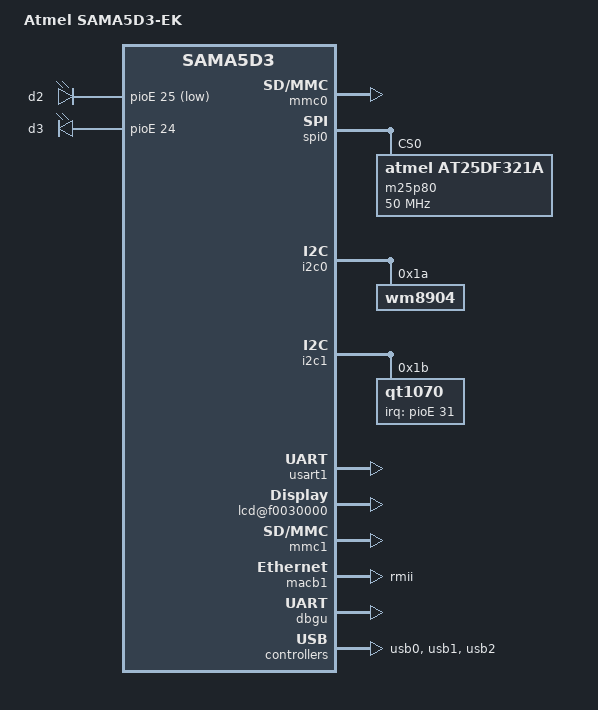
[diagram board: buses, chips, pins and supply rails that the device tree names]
/*
 * sama5d31ek.dts - Device Tree file for SAMA5-EK board
 *
 *  Copyright (C) 2012 Atmel,
 *                2012 Ludovic Desroches <ludovic.desroches@atmel.com>
 *
 * Licensed under GPLv2 or later.
 */
/dts-v1/;
/include/ "sama5d3.dtsi"
/include/ "sama5d3cm.dtsi"

/ {
	model = "Atmel SAMA5D3-EK";
	compatible = "atmel,sama5ek", "atmel,sama5d3", "atmel,sama5";

	chosen {
		bootargs = "console=ttyS0,115200 mtdparts=atmel_nand:8M(bootstrap/uboot/kernel)ro,-(rootfs) rw rootfstype=ubifs ubi.mtd=1 root=ubi0:rootfs";
	};

	ahb {
		apb {
			mmc0: mmc@f0000000 {
				status = "okay";
				pinctrl-0 = <&pinctrl_mmc0_clk_cmd_dat0 &pinctrl_mmc0_dat1_3 &pinctrl_mmc0_cd>;
				slot@0 {
					reg = <0>;
					bus-width = <4>;
					cd-gpios = <&pioD 17 0>;
				};
			};

			spi0: spi@f0004000 {
				status = "okay";
				m25p80@0 {
					compatible = "atmel,at25df321a";
					spi-max-frequency = <50000000>;
					reg = <0>;
				};
			};

			ssc0: ssc@f0008000 {
				status = "okay";
			};

			i2c0: i2c@f0014000 {
				status = "okay";

				wm8904: wm8904@1a {
					compatible = "wm8904";
					reg = <0x1a>;
				};
			};

			i2c1: i2c@f0018000 {
				status = "okay";

				qt1070: keyboard@1b {
					compatible = "qt1070";
					reg = <0x1b>;
					interrupt-parent = <&pioE>;
					interrupts = <31 0x0>;
					pinctrl-names = "default";
					pinctrl-0 = <&pinctrl_qt1070_irq>;
				};
			};

			usart1: serial@f0020000 {
				pinctrl-0 = <&pinctrl_usart1 &pinctrl_usart1_rts_cts>;
				status = "okay";
			};

			lcd_bus@f0030000 {
				status = "okay";

				lcd@f0030000 {
					status = "okay";
				};

				lcdovl1@f0030140 {
					status = "okay";
				};

				lcdovl2@f0030240 {
					status = "okay";
				};

				lcdheo1@f0030340 {
					status = "okay";
				};
			};

			isi: isi@f0034000 {
				pinctrl-names = "default";
				pinctrl-0 = <&pinctrl_isi &pinctrl_isi_pck_as_mck &pinctrl_isi_camera>;
				status = "disabled";
			};

			mmc1: mmc@f8000000 {
				status = "okay";
				pinctrl-0 = <&pinctrl_mmc1_clk_cmd_dat0 &pinctrl_mmc1_dat1_3 &pinctrl_mmc1_cd>;
				slot@0 {
					reg = <0>;
					bus-width = <4>;
					cd-gpios = <&pioD 18 0>;
				};
			};

			tsadcc: tsadcc@f8018000 {
				status = "okay";
			};

			adc0: adc@f8018000 {
				status = "disabled";
			};

			macb1: ethernet@f802c000 {
				phy-mode = "rmii";
				status = "okay";
			};

			pinctrl@fffff200 {
				board {
					pinctrl_mmc0_cd: mmc0_cd {
						atmel,pins =
							<3 17 0x0 0x5>; /* PD17 GPIO with pullup deglitch */
					};

					pinctrl_mmc1_cd: mmc1_cd {
						atmel,pins =
							<3 18 0x0 0x5>; /* PD18 GPIO with pullup deglitch */
					};

					pinctrl_pck0_as_audio_mck: pck0_as_audio_mck {
						atmel,pins =
							<3 30 0x2 0x0>;	/* PD30 periph B */
					};

					pinctrl_qt1070_irq: qt1070_irq {
						atmel,pins =
							<4 31 0x0 0x5>;	/* PE31 GPIO with pull up deglith */
					};

					pinctrl_usba_vbus: usba_vbus {
						atmel,pins =
							<3 29 0x0 0x4>; /* PD29 GPIO with deglitch */
					};
				};
			};

			dbgu: serial@ffffee00 {
				status = "okay";
			};

			watchdog@fffffe40 {
				status = "okay";
			};
		};

		usb0: gadget@00500000 {
			atmel,vbus-gpio = <&pioD 29 0>;
			pinctrl-names = "default";
			pinctrl-0 = <&pinctrl_usba_vbus>;
			status = "okay";
		};

		usb1: ohci@00600000 {
			status = "okay";
			num-ports = <3>;
			atmel,vbus-gpio = <&pioD 25 0
					   &pioD 26 1
					   &pioD 27 1
					  >;
		};

		usb2: ehci@00700000 {
			status = "okay";
		};
	};

	leds {
		compatible = "gpio-leds";

		d2 {
			label = "d2";
			gpios = <&pioE 25 1>;
		};

		d3 {
			label = "d3";
			gpios = <&pioE 24 0>;
			linux,default-trigger = "heartbeat";
		};
	};

	sound {
		compatible = "atmel,sama5d3ek-wm8904";
		pinctrl-names = "default";
		pinctrl-0 = <&pinctrl_pck0_as_audio_mck>;

		atmel,model = "wm8904 @ SAMA5D3EK";
		atmel,audio-routing =
			"MICBIAS", "IN1L",
			"Left Capture Mux", "MICBIAS";

		atmel,ssc-controller = <&ssc0>;
		atmel,audio-codec = <&wm8904>;
	};
};
